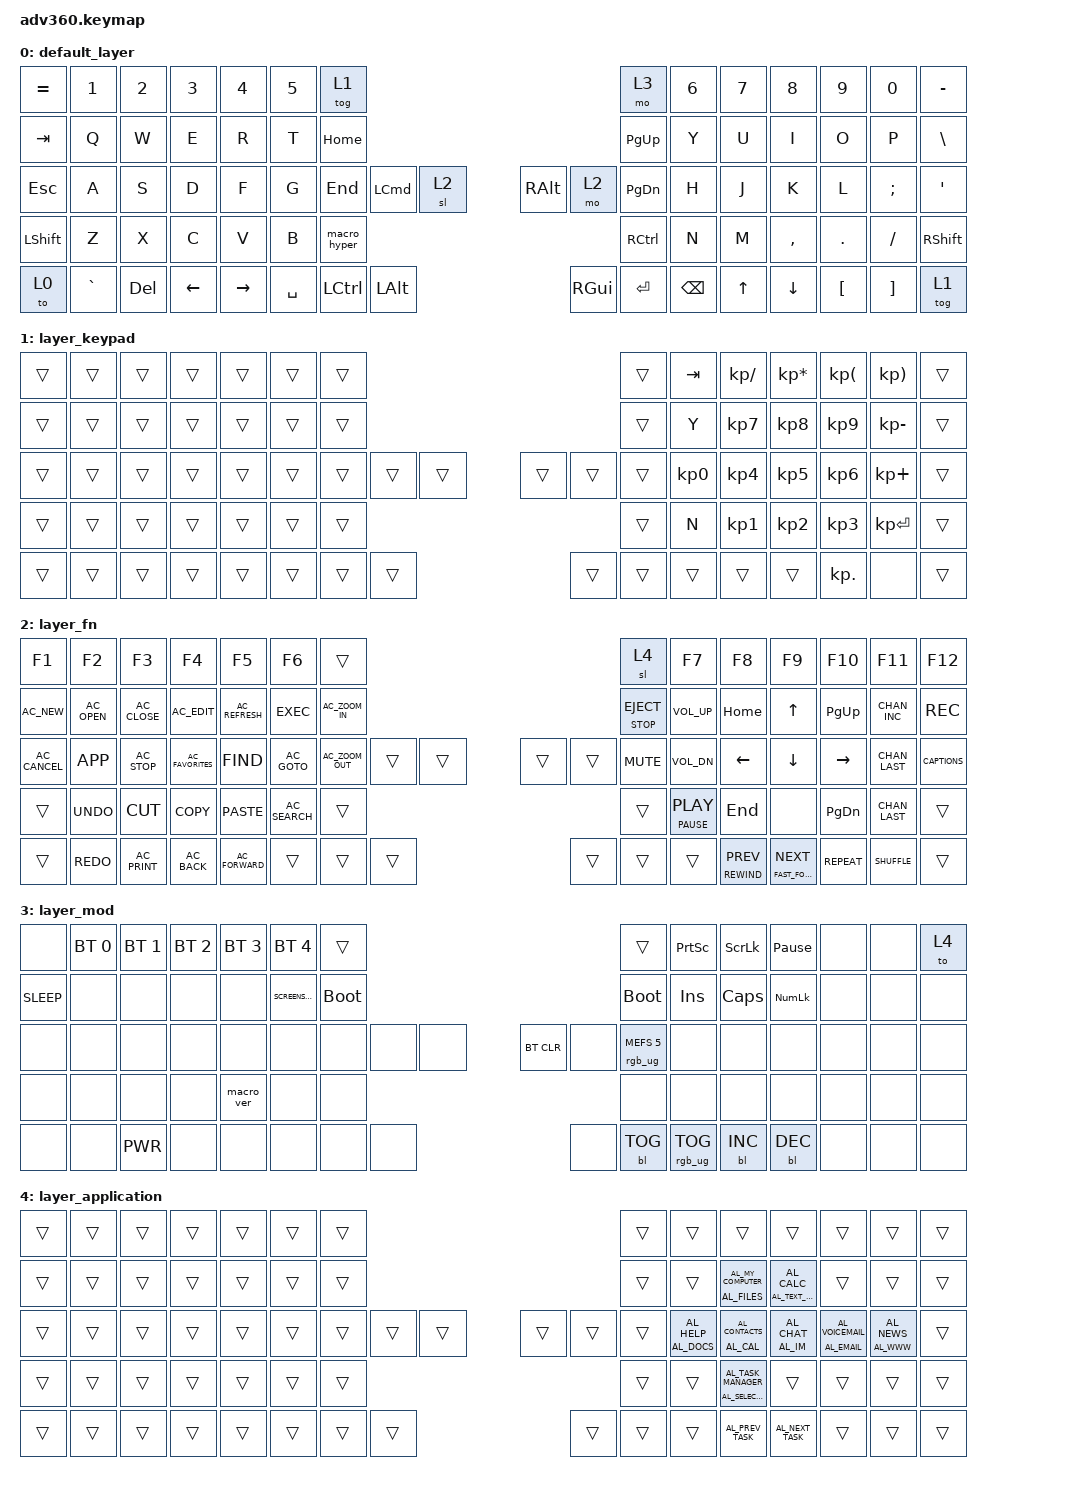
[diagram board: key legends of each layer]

/*
 * Copyright (c) 2020 The ZMK Contributors
 *
 * SPDX-License-Identifier: MIT
 */


/* THIS FILE WAS GENERATED!
 *
 * This file was generated automatically. You may or may not want to
 * edit it directly.
 */

#include <behaviors.dtsi>
#include <dt-bindings/zmk/keys.h>
#include <dt-bindings/zmk/bt.h>
#include <dt-bindings/zmk/rgb.h>
#include <dt-bindings/zmk/backlight.h>

/ {
  behaviors {
    #include "macros.dtsi"
    #include "version.dtsi"

    hm: homerow_mods {
        compatible = "zmk,behavior-hold-tap";
        label = "HOMEROW_MODS";
        #binding-cells = <2>;
        tapping-term-ms = <200>;
        quick_tap_ms = <175>;
        flavor = "tap-preferred";
        bindings = <&kp>, <&kp>;
    };
  };

    keymap {
        compatible = "zmk,keymap";


        default_layer {
            bindings = <
 &kp EQUAL     &kp N1   &kp N2    &kp N3     &kp N4  &kp N5               &tog 1                                                                                        &mo 3  &kp N6  &kp N7     &kp N8    &kp N9    &kp N0  &kp MINUS
   &kp TAB      &kp Q    &kp W     &kp E      &kp R   &kp T             &kp HOME                                                                                    &kp PG_UP   &kp Y   &kp U      &kp I     &kp O     &kp P   &kp BSLH
   &kp ESC      &kp A    &kp S     &kp D      &kp F   &kp G              &kp END  &kp LEFT_COMMAND         &sl 2                      &kp RIGHT_ALT      &mo 2      &kp PG_DN   &kp H   &kp J      &kp K     &kp L  &kp SEMI    &kp SQT
 &kp LSHFT      &kp Z    &kp X     &kp C      &kp V   &kp B                                         &macro_hyper                  &kp RIGHT_CONTROL                             &kp N   &kp M  &kp COMMA   &kp DOT  &kp FSLH  &kp RSHFT
     &to 0  &kp GRAVE  &kp DEL  &kp LEFT  &kp RIGHT                    &kp SPACE  &kp LEFT_CONTROL  &kp LEFT_ALT                           &kp RGUI  &kp ENTER  &kp BACKSPACE          &kp UP   &kp DOWN  &kp LBKT  &kp RBKT     &tog 1
            >;
        };

        layer_keypad {
            bindings = <
 &trans  &trans  &trans  &trans  &trans  &trans            &trans                                                  &trans          &kp TAB     &kp KP_SLASH  &kp KP_MULTIPLY  &kp KP_LEFT_PARENTHESIS  &kp KP_RIGHT_PARENTHESIS  &trans
 &trans  &trans  &trans  &trans  &trans  &trans            &trans                                                  &trans            &kp Y  &kp KP_NUMBER_7        &kp KP_N8                &kp KP_N9              &kp KP_MINUS  &trans
 &trans  &trans  &trans  &trans  &trans  &trans            &trans  &trans  &trans                  &trans  &trans  &trans  &kp KP_NUMBER_0        &kp KP_N4        &kp KP_N5                &kp KP_N6               &kp KP_PLUS  &trans
 &trans  &trans  &trans  &trans  &trans  &trans                            &trans                  &trans                            &kp N        &kp KP_N1        &kp KP_N2                &kp KP_N3              &kp KP_ENTER  &trans
 &trans  &trans  &trans  &trans  &trans                    &trans  &trans  &trans                  &trans  &trans  &trans                            &trans           &trans               &kp KP_DOT                     &none  &trans
            >;
        };

        layer_fn {
            bindings = <
          &kp F1         &kp F2          &kp F3              &kp F4            &kp F5           &kp F6                       &trans                                                               &sl 4              &kp F7               &kp F8                     &kp F9          &kp F10          &kp F11         &kp F12
    &kp C_AC_NEW  &kp C_AC_OPEN  &kp C_AC_CLOSE       &kp C_AC_EDIT  &kp C_AC_REFRESH       &kp K_EXEC             &kp C_AC_ZOOM_IN                                                  &mt C_STOP C_EJECT        &kp C_VOL_UP             &kp HOME               &kp UP_ARROW        &kp PG_UP   &kp C_CHAN_INC       &kp C_REC
 &kp C_AC_CANCEL      &kp K_APP   &kp C_AC_STOP  &kp C_AC_FAVORITES        &kp K_FIND    &kp C_AC_GOTO            &kp C_AC_ZOOM_OUT  &trans  &trans                  &trans  &trans          &kp C_MUTE        &kp C_VOL_DN       &kp LEFT_ARROW             &kp DOWN_ARROW  &kp RIGHT_ARROW  &kp C_CHAN_LAST  &kp C_CAPTIONS
          &trans     &kp K_UNDO       &kp K_CUT          &kp K_COPY       &kp K_PASTE  &kp C_AC_SEARCH                                       &trans                  &trans                              &mt C_PAUSE C_PLAY              &kp END                      &none        &kp PG_DN  &kp C_CHAN_LAST          &trans
          &trans     &kp K_REDO  &kp C_AC_PRINT       &kp C_AC_BACK  &kp C_AC_FORWARD                                        &trans  &trans  &trans                  &trans  &trans              &trans                      &mt C_REWIND C_PREV  &mt C_FAST_FORWARD C_NEXT     &kp C_REPEAT    &kp C_SHUFFLE          &trans
            >;
        };

        layer_mod {
            bindings = <
       &none  &bt BT_SEL 0  &bt BT_SEL 1  &bt BT_SEL 2  &bt BT_SEL 3       &bt BT_SEL 4                 &trans                                                                          &trans  &kp PRINTSCREEN  &kp SCROLLLOCK  &kp PAUSE_BREAK   &none   &none   &to 4
 &kp K_SLEEP         &none         &none         &none         &none  &kp K_SCREENSAVER            &bootloader                                                                     &bootloader          &kp INS        &kp CAPS       &kp KP_NUM   &none   &none   &none
       &none         &none         &none         &none         &none              &none                  &none   &none   &none                  &bt BT_CLR       &none  &rgb_ug RGB_MEFS_CMD 5            &none           &none            &none   &none   &none   &none
       &none         &none         &none         &none    &macro_ver              &none                                  &none                       &none                                                &none           &none            &none   &none   &none   &none
       &none         &none     &kp K_PWR         &none         &none                                     &none   &none   &none                       &none  &bl BL_TOG         &rgb_ug RGB_TOG                       &bl BL_INC       &bl BL_DEC   &none   &none   &none
            >;
        };

        layer_application {
            bindings = <
 &trans  &trans  &trans  &trans  &trans  &trans            &trans                                                  &trans                   &trans                                  &trans                          &trans                         &trans                  &trans  &trans
 &trans  &trans  &trans  &trans  &trans  &trans            &trans                                                  &trans                   &trans         &mt C_AL_FILES C_AL_MY_COMPUTER  &mt C_AL_TEXT_EDITOR C_AL_CALC                         &trans                  &trans  &trans
 &trans  &trans  &trans  &trans  &trans  &trans            &trans  &trans  &trans                  &trans  &trans  &trans  &mt C_AL_DOCS C_AL_HELP              &mt C_AL_CAL C_AL_CONTACTS           &mt C_AL_IM C_AL_CHAT  &mt C_AL_EMAIL C_AL_VOICEMAIL  &mt C_AL_WWW C_AL_NEWS  &trans
 &trans  &trans  &trans  &trans  &trans  &trans                            &trans                  &trans                                   &trans  &mt C_AL_SELECT_TASK C_AL_TASK_MANAGER                          &trans                         &trans                  &trans  &trans
 &trans  &trans  &trans  &trans  &trans                    &trans  &trans  &trans                  &trans  &trans  &trans                                               &kp C_AL_PREV_TASK              &kp C_AL_NEXT_TASK                         &trans                  &trans  &trans
            >;
        };

    };
};
